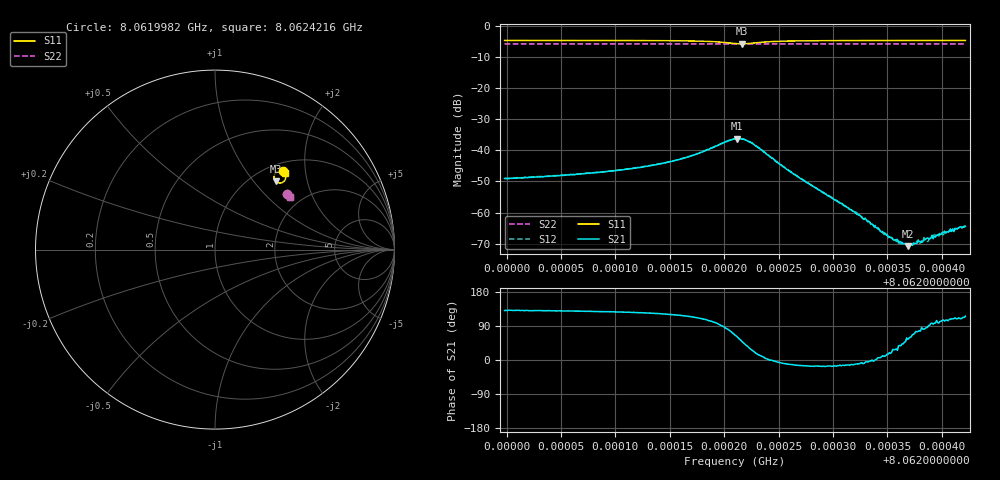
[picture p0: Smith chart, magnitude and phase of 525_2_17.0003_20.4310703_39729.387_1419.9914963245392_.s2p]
#  HZ  S  RI  R  50.00
! Rohde & Schwarz Vector Network Analyzer
! Rohde-Schwarz,ZNB20-2Port,1311601062101988,3.16
! Created: UTC 3/20/2024, 11:15:40 PM
! freq[Hz]  re:S11  im:S11  re:S21  im:S21  re:S12  im:S12  re:S22  im:S22
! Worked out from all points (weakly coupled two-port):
!   401 points, 8.0619982 GHz to 8.0624216 GHz, reference 50 ohm
!   highest |S21| = -36.27 dB at 8.062212 GHz (marker M1); lowest = -70.8 dB at 8.0623687 GHz (marker M2)
!   lowest |S11| = -5.9 dB at 8.0622163 GHz (marker M3), VSWR 3.07, Z = 63.8 + j65.3 ohm
!   |S11| at or under -10 dB: nowhere
!   |S22| runs from -5.9 to -5.9 dB; largest |S21 - S12| = 0.0011
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8.06199824e9  0.3769 0.4357  -0.00228 0.00267  -0.00215 0.00284  0.4028 0.3115
8.06206915e9  0.3827 0.4298  -0.00262 0.00325  -0.00245 0.00346  0.4053 0.3078
8.06211361e9  0.3871 0.4242  -0.00295 0.00407  -0.00269 0.00433  0.4069 0.3054
8.06214006e9  0.3903 0.4188  -0.00323 0.00506  -0.00296 0.00529  0.408 0.3039
8.06217181e9  0.3939 0.4057  -0.00329 0.00767  -0.0028 0.00792  0.4092 0.3017
8.0621951e9  0.3868 0.3831  -0.000852 0.0121  -0.000135 0.0123  0.4092 0.2998
8.06220992e9  0.3568 0.371  0.00626 0.0139  0.00702 0.0136  0.408 0.2988
8.06221203e9  0.3504 0.3725  0.00749 0.0134  0.00833 0.013  0.408 0.2989
8.06221627e9  0.339 0.3794  0.00998 0.0114  0.0107 0.0111  0.4076 0.2992
8.06222685e9  0.3289 0.4076  0.0115 0.00492  0.012 0.00424  0.4079 0.3001
8.06225966e9  0.3586 0.4359  0.00457 -0.000904  0.00453 -0.00121  0.4108 0.2993
8.06228082e9  0.3687 0.4351  0.00257 -0.000764  0.00257 -0.00092  0.4118 0.2981
8.06232104e9  0.3785 0.4317  0.00096 -0.000183  0.000992 -0.000245  0.4137 0.296
8.06235173e9  0.3828 0.4292  0.000383 0.000135  0.000401 0.000101  0.4148 0.2943
8.06236338e9  0.3842 0.4283  0.000244 0.000223  0.000264 0.000204  0.4152 0.2938
8.06236867e9  0.3847 0.4279  0.000167 0.000236  0.000217 0.000231  0.4154 0.2934
8.0623729e9  0.3852 0.4276  0.000117 0.000273  0.00015 0.000275  0.4155 0.2931
8.06237502e9  0.3855 0.4274  0.000108 0.0003  0.000151 0.000277  0.4158 0.2932
8.06238666e9  0.3866 0.4267  2.76e-05 0.000392  4.85e-05 0.000339  0.416 0.2926
8.06239195e9  0.3871 0.4262  -3.22e-05 0.00038  -1.73e-05 0.000422  0.4162 0.2922
8.06240253e9  0.3879 0.4255  -0.000112 0.000492  -8.5e-05 0.000474  0.4166 0.2916
8.06242158e9  0.3896 0.4243  -0.000259 0.000541  -0.000198 0.000588  0.4172 0.2905
